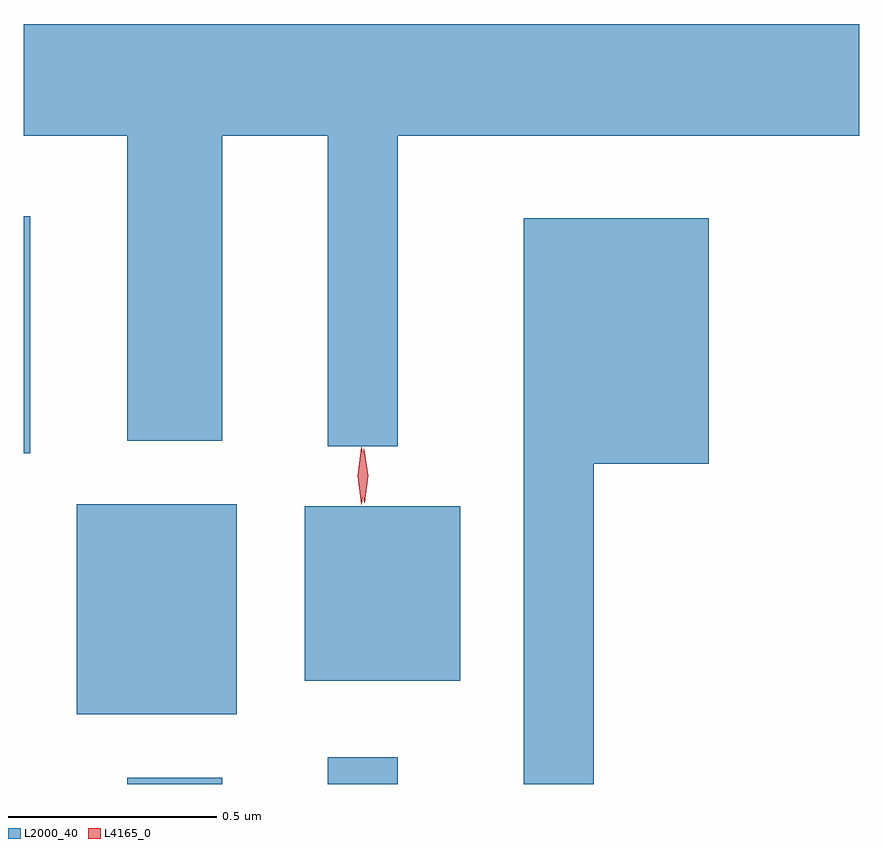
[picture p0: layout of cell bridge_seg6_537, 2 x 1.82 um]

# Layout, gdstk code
import gdstk
lib = gdstk.Library(unit=1e-6, precision=1e-09)
def R(c, l, rs):  # rectangles x0, y0, x1, y1
    for r in rs: c.add(gdstk.rectangle(r[:2], r[2:], *l))
def P(c, l, *ps):  # polygons
    for p in ps: c.add(gdstk.Polygon(p, *l))
L2000_40 = (2000, 40)
L4165_0 = (4165, 0)

bridge_seg6_537 = lib.new_cell('bridge_seg6_537')
R(bridge_seg6_537, L2000_40, [(1010.001,1597.324,1010.229,1597.339), (1010.481,1597.324,1010.649,1597.388), (1009.881,1597.491,1010.264,1597.994), (1010.426,1597.571,1010.799,1597.989), (1009.754,1598.116,1009.769,1598.684)])
P(bridge_seg6_537, L2000_40, [(1010.649,1598.876),(1011.754,1598.876),(1011.754,1599.144),(1009.754,1599.144),(1009.754,1598.876),(1010.001,1598.876),(1010.001,1598.146),(1010.229,1598.146),(1010.229,1598.876),(1010.481,1598.876),(1010.481,1598.133),(1010.649,1598.133)],
  [(1011.119,1598.091),(1011.394,1598.091),(1011.394,1598.679),(1010.951,1598.679),(1010.951,1597.324),(1011.119,1597.324)])
P(bridge_seg6_537, L4165_0, [(1010.562,1597.994),(1010.553,1598.062),(1010.562,1598.13),(1010.563,1598.13),(1010.563,1598.13),(1010.573,1598.062),(1010.563,1597.994),(1010.563,1597.994)],
  [(1010.569,1597.998),(1010.569,1597.998),(1010.559,1598.062),(1010.568,1598.126),(1010.568,1598.127),(1010.569,1598.126),(1010.579,1598.062),(1010.57,1597.998)])

lib.write_gds('bridge_seg6_537.gds')
